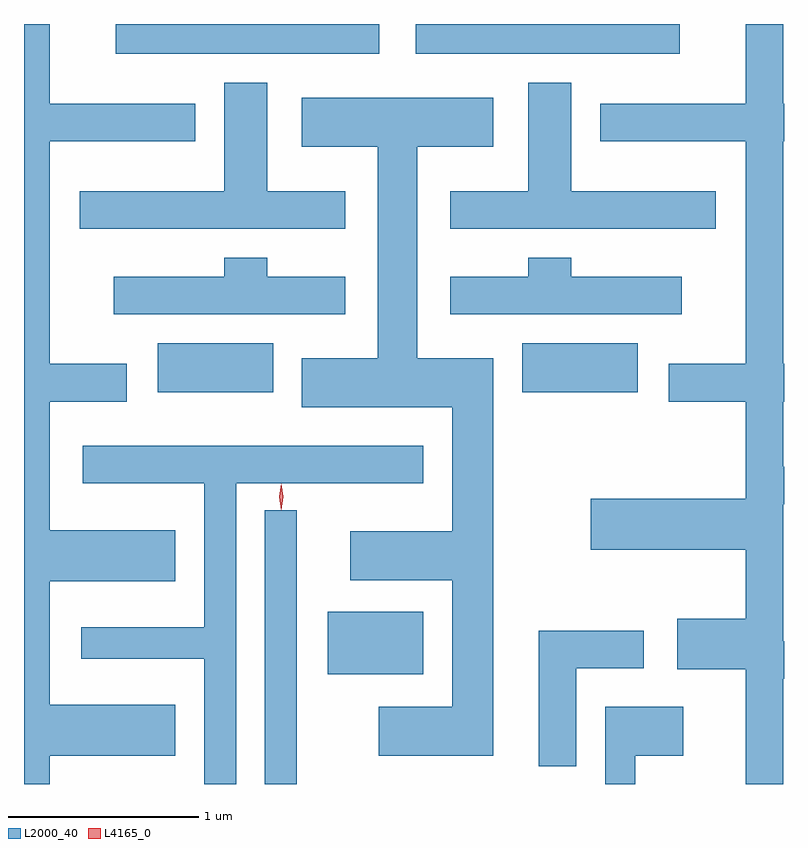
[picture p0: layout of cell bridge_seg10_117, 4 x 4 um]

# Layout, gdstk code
import gdstk
lib = gdstk.Library(unit=1e-6, precision=1e-09)
def R(c, l, rs):  # rectangles x0, y0, x1, y1
    for r in rs: c.add(gdstk.rectangle(r[:2], r[2:], *l))
def P(c, l, *ps):  # polygons
    for p in ps: c.add(gdstk.Polygon(p, *l))
L2000_40 = (2000, 40)
L4165_0 = (4165, 0)

bridge_seg10_117 = lib.new_cell('bridge_seg10_117')
R(bridge_seg10_117, L2000_40, [(1681.081,2140.733,1681.249,2142.173), (1681.411,2141.311,1681.914,2141.639), (1680.516,2142.796,1681.124,2143.054), (1682.436,2142.796,1683.044,2143.054), (1680.296,2144.576,1681.684,2144.733), (1681.876,2144.576,1683.264,2144.733)])
P(bridge_seg10_117, L2000_40, [(1679.949,2140.881),(1680.609,2140.881),(1680.609,2141.149),(1679.949,2141.149),(1679.949,2141.801),(1680.609,2141.801),(1680.609,2142.069),(1679.949,2142.069),(1679.949,2142.746),(1680.354,2142.746),(1680.354,2142.944),(1679.949,2142.944),(1679.949,2144.116),(1680.714,2144.116),(1680.714,2144.314),(1679.949,2144.314),(1679.949,2144.733),(1679.813,2144.733),(1679.813,2140.733),(1679.949,2140.733)],
  [(1683.809,2141.286),(1683.813,2141.286),(1683.813,2141.484),(1683.809,2141.484),(1683.809,2142.206),(1683.813,2142.206),(1683.813,2142.404),(1683.809,2142.404),(1683.809,2142.746),(1683.813,2142.746),(1683.813,2142.944),(1683.809,2142.944),(1683.809,2144.116),(1683.813,2144.116),(1683.813,2144.314),(1683.809,2144.314),(1683.809,2144.733),(1683.611,2144.733),(1683.611,2144.314),(1682.846,2144.314),(1682.846,2144.116),(1683.611,2144.116),(1683.611,2142.944),(1683.206,2142.944),(1683.206,2142.746),(1683.611,2142.746),(1683.611,2142.234),(1682.796,2142.234),(1682.796,2141.966),(1683.611,2141.966),(1683.611,2141.604),(1683.251,2141.604),(1683.251,2141.336),(1683.611,2141.336),(1683.611,2140.733),(1683.809,2140.733)],
  [(1681.504,2143.854),(1681.094,2143.854),(1681.094,2144.424),(1680.866,2144.424),(1680.866,2143.854),(1680.106,2143.854),(1680.106,2143.656),(1681.504,2143.656)],
  [(1683.454,2143.854),(1682.694,2143.854),(1682.694,2144.424),(1682.466,2144.424),(1682.466,2143.854),(1682.056,2143.854),(1682.056,2143.656),(1683.454,2143.656)],
  [(1682.284,2142.974),(1681.884,2142.974),(1681.884,2144.086),(1682.284,2144.086),(1682.284,2144.344),(1681.276,2144.344),(1681.276,2144.086),(1681.676,2144.086),(1681.676,2142.974),(1681.276,2142.974),(1681.276,2142.716),(1682.066,2142.716),(1682.066,2142.064),(1681.531,2142.064),(1681.531,2141.806),(1682.066,2141.806),(1682.066,2141.139),(1681.681,2141.139),(1681.681,2140.881),(1682.284,2140.881)],
  [(1683.274,2143.404),(1682.694,2143.404),(1682.694,2143.504),(1682.466,2143.504),(1682.466,2143.404),(1682.056,2143.404),(1682.056,2143.206),(1683.274,2143.206)],
  [(1681.504,2143.404),(1681.094,2143.404),(1681.094,2143.504),(1680.866,2143.504),(1680.866,2143.404),(1680.286,2143.404),(1680.286,2143.206),(1681.504,2143.206)],
  [(1680.929,2142.316),(1681.914,2142.316),(1681.914,2142.514),(1680.121,2142.514),(1680.121,2142.316),(1680.761,2142.316),(1680.761,2141.559),(1680.113,2141.559),(1680.113,2141.391),(1680.761,2141.391),(1680.761,2140.733),(1680.929,2140.733)],
  [(1682.719,2141.341),(1683.074,2141.341),(1683.074,2141.539),(1682.521,2141.539),(1682.521,2140.826),(1682.719,2140.826)],
  [(1683.029,2140.881),(1683.284,2140.881),(1683.284,2141.139),(1682.871,2141.139),(1682.871,2140.733),(1683.029,2140.733)])
P(bridge_seg10_117, L4165_0, [(1681.167,2142.178),(1681.167,2142.178),(1681.157,2142.244),(1681.167,2142.311),(1681.167,2142.311),(1681.168,2142.311),(1681.177,2142.244),(1681.168,2142.178)],
  [(1681.167,2142.174),(1681.167,2142.175),(1681.157,2142.244),(1681.167,2142.313),(1681.167,2142.314),(1681.168,2142.313),(1681.177,2142.244),(1681.168,2142.175)])

lib.write_gds('bridge_seg10_117.gds')
